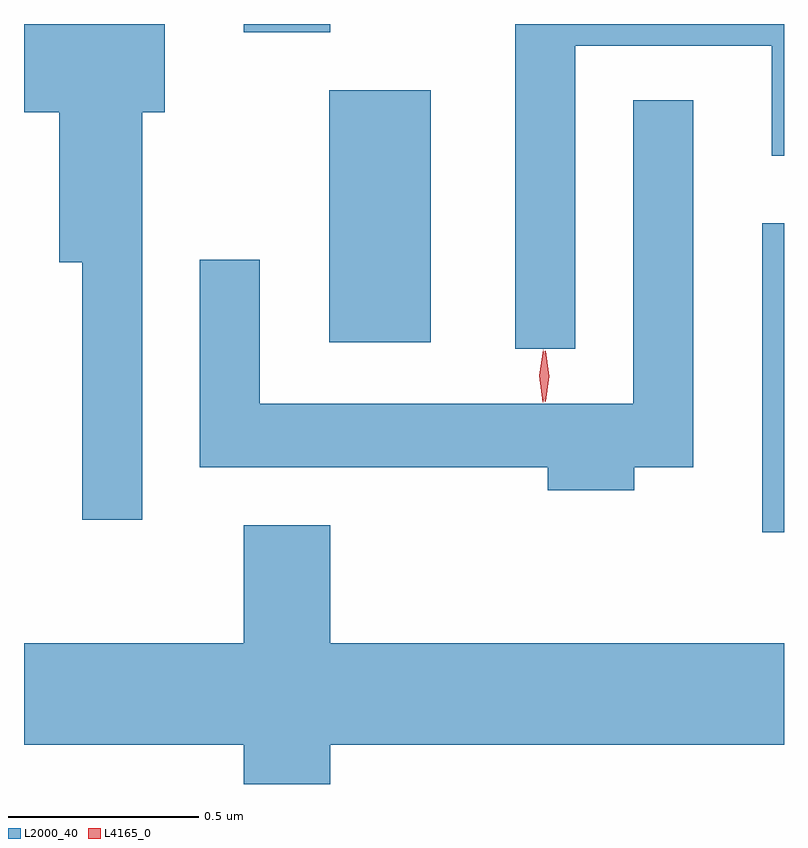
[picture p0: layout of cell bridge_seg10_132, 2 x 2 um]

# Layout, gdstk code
import gdstk
lib = gdstk.Library(unit=1e-6, precision=1e-09)
def R(c, l, rs):  # rectangles x0, y0, x1, y1
    for r in rs: c.add(gdstk.rectangle(r[:2], r[2:], *l))
def P(c, l, *ps):  # polygons
    for p in ps: c.add(gdstk.Polygon(p, *l))
L2000_40 = (2000, 40)
L4165_0 = (4165, 0)

bridge_seg10_132 = lib.new_cell('bridge_seg10_132')
R(bridge_seg10_132, L2000_40, [(1579.486,2134.456,1579.543,2135.269), (1578.346,2134.956,1578.614,2135.619), (1578.121,2135.771,1578.349,2135.793)])
P(bridge_seg10_132, L2000_40, [(1578.994,2135.736),(1579.511,2135.736),(1579.511,2135.446),(1579.543,2135.446),(1579.543,2135.793),(1578.836,2135.793),(1578.836,2134.938),(1578.994,2134.938)],
  [(1577.854,2135.561),(1577.914,2135.561),(1577.914,2135.793),(1577.543,2135.793),(1577.543,2135.561),(1577.636,2135.561),(1577.636,2135.166),(1577.696,2135.166),(1577.696,2134.488),(1577.854,2134.488)],
  [(1579.149,2134.626),(1579.304,2134.626),(1579.304,2135.593),(1579.146,2135.593),(1579.146,2134.794),(1578.164,2134.794),(1578.164,2135.173),(1578.006,2135.173),(1578.006,2134.626),(1578.921,2134.626),(1578.921,2134.566),(1579.149,2134.566)],
  [(1578.349,2133.896),(1579.543,2133.896),(1579.543,2134.164),(1578.349,2134.164),(1578.349,2134.474),(1578.121,2134.474),(1578.121,2134.164),(1577.543,2134.164),(1577.543,2133.896),(1578.121,2133.896),(1578.121,2133.793),(1578.349,2133.793)])
P(bridge_seg10_132, L4165_0, [(1578.915,2134.799),(1578.914,2134.8),(1578.905,2134.866),(1578.914,2134.932),(1578.915,2134.933),(1578.916,2134.932),(1578.925,2134.866),(1578.916,2134.8)],
  [(1578.909,2134.797),(1578.908,2134.798),(1578.899,2134.867),(1578.909,2134.936),(1578.909,2134.936),(1578.91,2134.936),(1578.919,2134.867),(1578.909,2134.798)])

lib.write_gds('bridge_seg10_132.gds')
